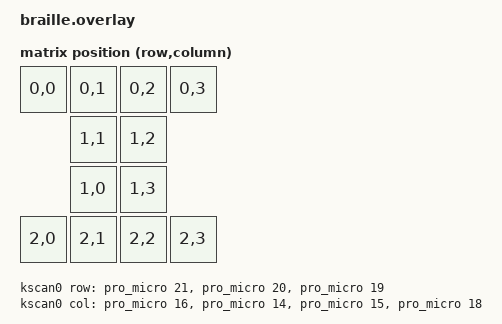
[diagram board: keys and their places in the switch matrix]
#include <dt-bindings/zmk/matrix_transform.h>

/ {
    chosen {
        zmk,kscan = &kscan0;
        zmk,matrix-transform = &default_transform;
    };

    kscan0: kscan_0 {
        compatible = "zmk,kscan-gpio-matrix";
        // row2col is _probably_ not wrong
        diode-direction = "row2col";

//    rows = 0_31, 0_29, 0_02
//    cols = 0_10, 1_11, 1_13, 1_15  

        col-gpios = 
              <&pro_micro 16 (GPIO_ACTIVE_HIGH | GPIO_PULL_DOWN)>
            , <&pro_micro 14 (GPIO_ACTIVE_HIGH | GPIO_PULL_DOWN)>
            , <&pro_micro 15 (GPIO_ACTIVE_HIGH | GPIO_PULL_DOWN)>
            , <&pro_micro 18 (GPIO_ACTIVE_HIGH | GPIO_PULL_DOWN)>
            ;

        row-gpios
            = <&pro_micro 21 GPIO_ACTIVE_HIGH>
            , <&pro_micro 20 GPIO_ACTIVE_HIGH>
            , <&pro_micro 19 GPIO_ACTIVE_HIGH>
            ;




    default_transform: keymap_transform_0 {
        compatible = "zmk,matrix-transform";
        columns = <4>;
        rows = <3>;
// | MX1  | MX2  | MX3  | MX4  | 
//        | MX6  | MX7  |  
//        | MX5  | MX8  |
// | MX9  | MX10 | MX11 | MX12 |
        map = <
RC(0,0) RC(0,1) RC(0,2) RC(0,3) 
        RC(1,1) RC(1,2) 
        RC(1,0) RC(1,3)
RC(2,0) RC(2,1) RC(2,2) RC(2,3)
        >;
    };
    };
};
